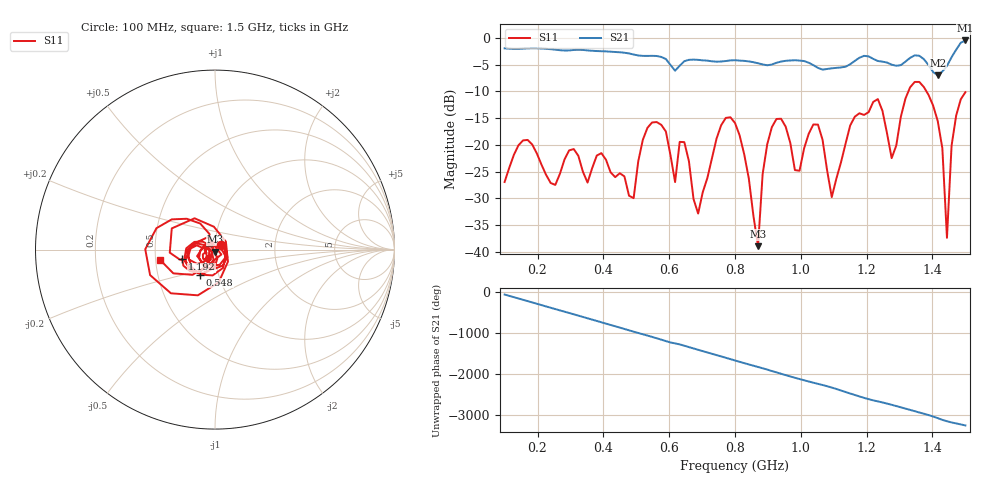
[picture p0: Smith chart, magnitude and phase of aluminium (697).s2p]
! NanoVNA-App
! Date: 2025-09-25 15:00:42
! Start: 100MHz Stop: 1,5GHz Points: 101
! S-Parameter data: F S11 S21 S12 S22
# Hz S RI R 50
!  Frequency  S11_Real  S11_Imag  S21_Real  S21_Imag  S12_Real  S12_Imag  S22_Real  S22_Imag
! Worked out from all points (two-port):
!   101 points, 100 MHz to 1.5 GHz, reference 50 ohm
!   highest |S21| = -0.44 dB at 1.5 GHz (marker M1); lowest = -7.0 dB at 1.416 GHz (marker M2)
!   |S21| within 3 dB of the highest: start of sweep to 568.9 MHz; 1.459 GHz to end of sweep (the widest 2 of 4)
!   lowest |S11| = -39.0 dB at 870 MHz (marker M3), VSWR 1.02, Z = 50.2 - j1.11 ohm
!   |S11| at or under -10 dB: start of sweep to 1.327 GHz; 1.382 GHz to end of sweep
!   S12 and S22 are empty: the file has one direction only
!   S11 on the Smith chart (normalised r, x): 100 MHz: 1.07, +0.06; 548 MHz: 0.82, -0.23; 1.192 GHz: 0.69, -0.08; 1.5 GHz: 0.53, -0.07
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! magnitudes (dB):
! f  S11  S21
! 100 MHz  -27.0  -1.9
! 156 MHz  -19.2  -2.0
! 338 MHz  -25.1  -2.2
! 492 MHz  -30.0  -3.1
! 548 MHz  -15.8  -3.3
! 576 MHz  -16.2  -3.5
! 618 MHz  -27.0  -6.1
! 646 MHz  -19.5  -4.3
! 688 MHz  -32.9  -4.1
! 800 MHz  -15.9  -4.1
! 870 MHz  -39.0  -4.7
! 912 MHz  -16.7  -4.9
! 996 MHz  -24.9  -4.2
! 1.038 GHz  -16.2  -5.1
! 1.094 GHz  -29.8  -5.7
! 1.192 GHz  -14.4  -3.3
! 1.276 GHz  -22.5  -5.0
! 1.346 GHz  -8.2  -3.2
! 1.416 GHz  -15.6  -7.0
! 1.444 GHz  -37.4  -5.2
! 1.458 GHz  -20.2  -3.6
! 1.5 GHz  -10.1  -0.4
